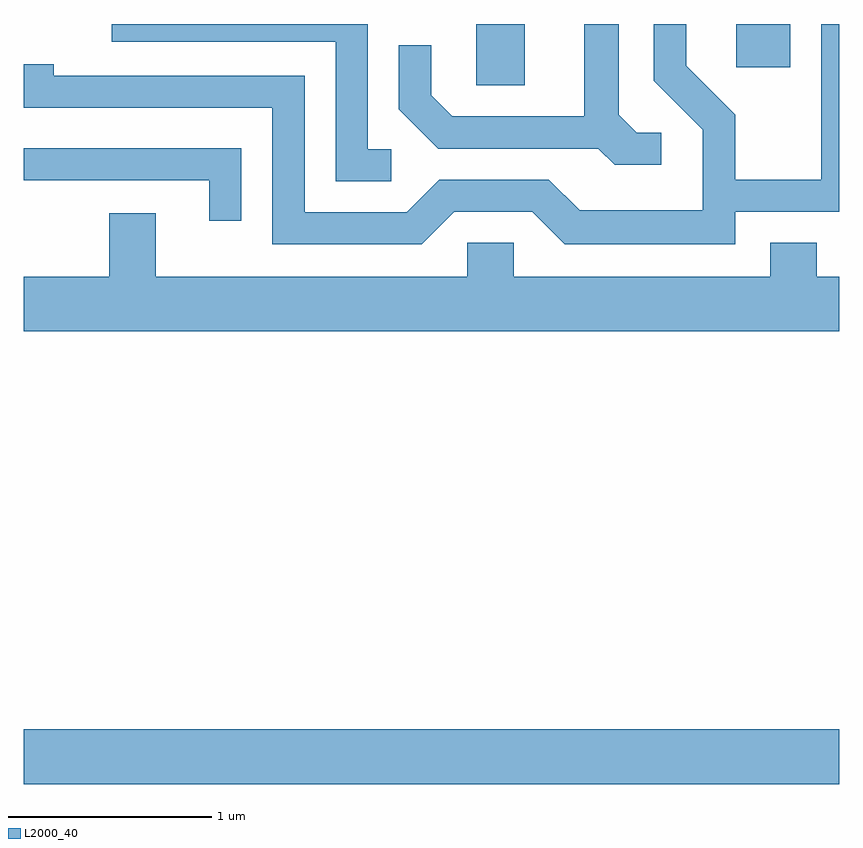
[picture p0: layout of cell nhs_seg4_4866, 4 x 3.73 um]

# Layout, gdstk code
import gdstk
lib = gdstk.Library(unit=1e-6, precision=1e-09)
def R(c, l, rs):  # rectangles x0, y0, x1, y1
    for r in rs: c.add(gdstk.rectangle(r[:2], r[2:], *l))
def P(c, l, *ps):  # polygons
    for p in ps: c.add(gdstk.Polygon(p, *l))
L2000_40 = (2000, 40)

nhs_seg4_4866 = lib.new_cell('nhs_seg4_4866')
R(nhs_seg4_4866, L2000_40, [(327.611,1330.256,331.611,1330.524), (329.831,1333.681,330.069,1333.982), (331.106,1333.771,331.369,1333.982)])
P(nhs_seg4_4866, L2000_40, [(330.738,1333.449),(330.617,1333.449),(330.529,1333.537),(330.529,1333.982),(330.361,1333.982),(330.361,1333.529),(329.712,1333.529),(329.609,1333.632),(329.609,1333.878),(329.451,1333.878),(329.451,1333.564),(329.644,1333.371),(330.429,1333.371),(330.509,1333.291),(330.738,1333.291)],
  [(329.413,1333.369),(329.299,1333.369),(329.299,1333.982),(328.043,1333.982),(328.043,1333.896),(329.141,1333.896),(329.141,1333.211),(329.413,1333.211)],
  [(329.722,1333.061),(330.104,1333.061),(330.264,1332.901),(331.099,1332.901),(331.099,1333.061),(331.611,1333.061),(331.611,1333.982),(331.521,1333.982),(331.521,1333.219),(331.099,1333.219),(331.099,1333.537),(330.859,1333.777),(330.859,1333.982),(330.701,1333.982),(330.701,1333.704),(330.941,1333.464),(330.941,1333.069),(330.337,1333.069),(330.187,1333.219),(329.649,1333.219),(329.489,1333.059),(328.989,1333.059),(328.989,1333.729),(327.759,1333.729),(327.759,1333.784),(327.611,1333.784),(327.611,1333.571),(328.831,1333.571),(328.831,1332.901),(329.562,1332.901)],
  [(328.679,1333.374),(327.611,1333.374),(327.611,1333.216),(328.521,1333.216),(328.521,1333.018),(328.679,1333.018)],
  [(331.611,1332.744),(331.499,1332.744),(331.499,1332.909),(331.271,1332.909),(331.271,1332.744),(330.014,1332.744),(330.014,1332.909),(329.786,1332.909),(329.786,1332.744),(328.259,1332.744),(328.259,1333.054),(328.031,1333.054),(328.031,1332.744),(327.611,1332.744),(327.611,1332.476),(331.611,1332.476)])

lib.write_gds('nhs_seg4_4866.gds')
